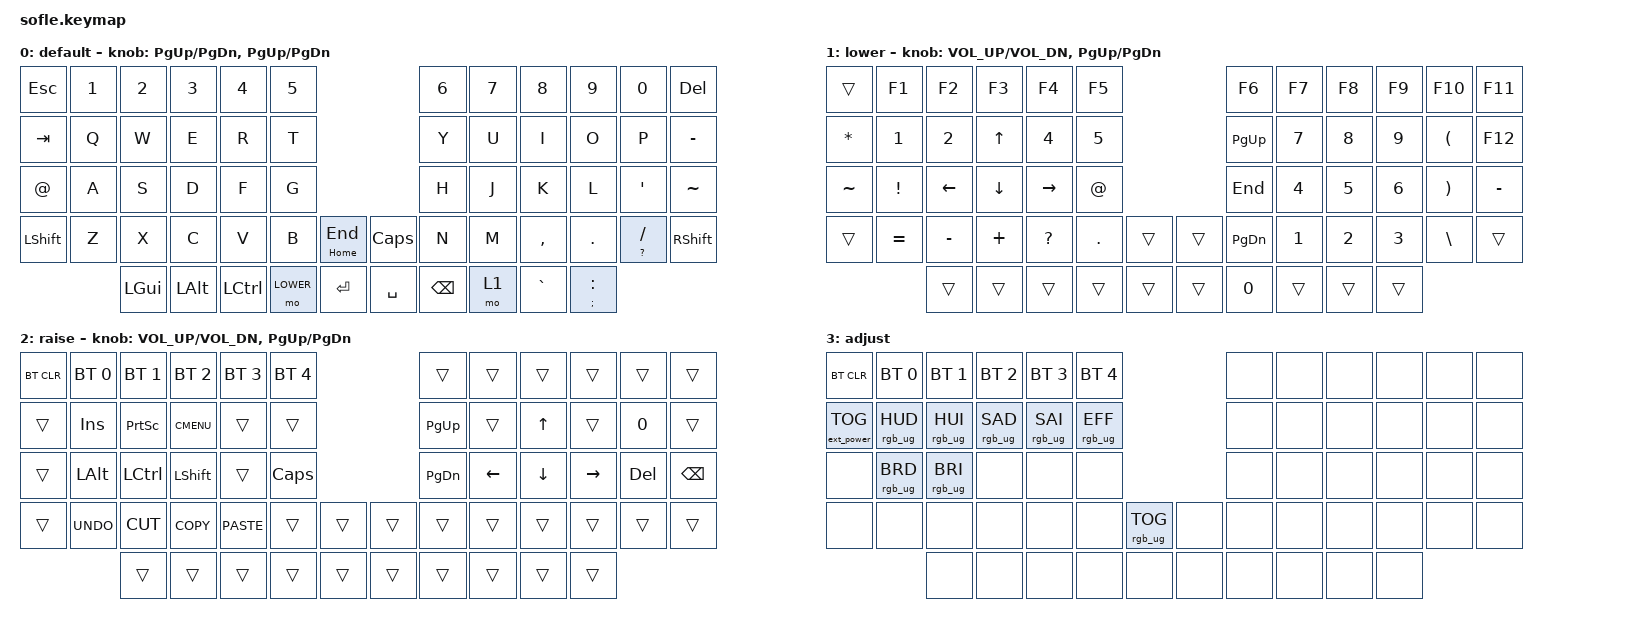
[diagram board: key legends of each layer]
/*
 * Copyright (c) 2020 The ZMK Contributors
 *
 * SPDX-License-Identifier: MIT
 */

#include <behaviors.dtsi>
#include <dt-bindings/zmk/bt.h>
#include <dt-bindings/zmk/ext_power.h>
#include <dt-bindings/zmk/keys.h>
#include <dt-bindings/zmk/rgb.h>

#define BASE 0
#define LOWER 1
#define RAISE 2
#define ADJUST 3

/ {
    // Activate ADJUST layer by pressing raise and lower

    conditional_layers {
        compatible = "zmk,conditional-layers";

        adjust_layer {
            if-layers = <LOWER RAISE>;
            then-layer = <ADJUST>;
        };
    };

    keymap {
        compatible = "zmk,keymap";

        default_layer {
            display-name = "default";

            // ------------------------------------------------------------------------------------------------------------
            // |   `   |  1  |  2  |  3   |  4   |  5   |                   |  6   |  7    |  8    |  9   |   0   |       |
            // |  ESC  |  Q  |  W  |  E   |  R   |  T   |                   |  Y   |  U    |  I    |  O   |   P   | BKSPC |
            // |  TAB  |  A  |  S  |  D   |  F   |  G   |                   |  H   |  J    |  K    |  L   |   ;   |   '   |
            // | SHIFT |  Z  |  X  |  C   |  V   |  B   |  MUTE  |  |       |  N   |  M    |  ,    |  .   |   /   | SHIFT |
            //               | GUI | ALT  | CTRL | LOWER|  ENTER |  | SPACE | RAISE| CTRL  | ALT   | GUI  |

            bindings = <
&kp ESCAPE   &kp N1  &kp N2    &kp N3    &kp N4     &kp N5                                   &kp N6         &kp N7  &kp N8     &kp N9          &kp N0              &kp DEL
&kp TAB      &kp Q   &kp W     &kp E     &kp R      &kp T                                    &kp Y          &kp U   &kp I      &kp O           &kp P               &kp MINUS
&kp AT_SIGN  &kp A   &kp S     &kp D     &kp F      &kp G                                    &kp H          &kp J   &kp K      &kp L           &kp APOS            &kp TILDE
&kp LSHFT    &kp Z   &kp X     &kp C     &kp V      &kp B      &mt HOME END    &kp CAPSLOCK  &kp N          &kp M   &kp COMMA  &kp DOT         &mt QUESTION SLASH  &kp RSHFT
                     &kp LGUI  &kp LALT  &kp LCTRL  &mo LOWER  &kp RET         &kp SPACE     &kp BACKSPACE  &mo 1   &kp GRAVE  &mt SEMI COLON
            >;

            sensor-bindings =
                <&inc_dec_kp PAGE_UP PAGE_DOWN>,
                <&inc_dec_kp PG_UP PG_DN>;
        };

        lower_layer {
            display-name = "lower";

            // TODO: Some binds are waiting for shifted keycode support.
            // ------------------------------------------------------------------------------------------------------------
            // |       |  F1 |  F2 |  F3  |  F4  |  F5  |                   |  F6  |  F7   |  F8   |  F9  |  F10  |  F11  |
            // |   `   |  1  |  2  |  3   |  4   |  5   |                   |  6   |  7    |  8    |  9   |   0   |  F12  |
            // |       |  !  |  @  |  #   |  $   |  %   |                   |  ^   |  &    |  *    |  (   |   )   |   |   |
            // |       |  =  |  -  |  +   |  {   |  }   |        |  |       |  [   |  ]    |  ;    |  :   |   \   |       |
            //               |     |      |      |      |        |  |       |      |       |       |      |

            bindings = <
&trans     &kp F1     &kp F2     &kp F3          &kp F4        &kp F5                         &kp F6         &kp F7  &kp F8  &kp F9  &kp F10               &kp F11
&kp ASTRK  &kp N1     &kp N2     &kp UP_ARROW    &kp N4        &kp N5                         &kp PAGE_UP    &kp N7  &kp N8  &kp N9  &kp LEFT_PARENTHESIS  &kp F12
&kp TILDE  &kp EXCL   &kp LEFT   &kp DOWN_ARROW  &kp RIGHT     &kp AT_SIGN                    &kp END        &kp N4  &kp N5  &kp N6  &kp RPAR              &kp MINUS
&trans     &kp EQUAL  &kp MINUS  &kp PLUS        &kp QUESTION  &kp PERIOD   &trans    &trans  &kp PAGE_DOWN  &kp N1  &kp N2  &kp N3  &kp BSLH              &trans
                      &trans     &trans          &trans        &trans       &trans    &trans  &kp N0         &trans  &trans  &trans
            >;

            sensor-bindings = <&inc_dec_kp C_VOL_UP C_VOL_DN &inc_dec_kp PG_UP PG_DN>;
        };

        raise_layer {
            display-name = "raise";

            // ------------------------------------------------------------------------------------------------------------
            // | BTCLR | BT1  | BT2  |  BT3  |  BT4  |  BT5 |                |      |      |       |      |       |       |
            // |       | INS  | PSCR | GUI   |       |      |                | PGUP |      |   ^   |      |       |       |
            // |       | ALT  | CTRL | SHIFT |       | CAPS |                | PGDN |   <- |   v   |  ->  |  DEL  | BKSPC |
            // |       | UNDO | CUT  | COPY  | PASTE |      |      |  |      |      |      |       |      |       |       |
            //                |      |       |       |      |      |  |      |      |      |       |      |

            bindings = <
&bt BT_CLR  &bt BT_SEL 0  &bt BT_SEL 1  &bt BT_SEL 2  &bt BT_SEL 3  &bt BT_SEL 4                    &trans     &trans    &trans    &trans     &trans   &trans
&trans      &kp INS       &kp PSCRN     &kp K_CMENU   &trans        &trans                          &kp PG_UP  &trans    &kp UP    &trans     &kp N0   &trans
&trans      &kp LALT      &kp LCTRL     &kp LSHFT     &trans        &kp CLCK                        &kp PG_DN  &kp LEFT  &kp DOWN  &kp RIGHT  &kp DEL  &kp BSPC
&trans      &kp K_UNDO    &kp K_CUT     &kp K_COPY    &kp K_PASTE   &trans        &trans    &trans  &trans     &trans    &trans    &trans     &trans   &trans
                          &trans        &trans        &trans        &trans        &trans    &trans  &trans     &trans    &trans    &trans
            >;

            sensor-bindings = <&inc_dec_kp C_VOL_UP C_VOL_DN &inc_dec_kp PG_UP PG_DN>;
        };

        adjust_layer {
            // ----------------------------------------------------------------------------------------------------------------------------
            // | BTCLR  |  BT1    |  BT2    |   BT3   |   BT4   |   BT5   |                  |      |      |       |      |       |       |
            // | EXTPWR | RGB_HUD | RGB_HUI | RGB_SAD | RGB_SAI | RGB_EFF |                  |      |      |       |      |       |       |
            // |        | RGB_BRD | RGB_BRI |         |         |         |                  |      |      |       |      |       |       |
            // |        |         |         |         |         |         | RGB_TOG | |      |      |      |       |      |       |       |
            //                    |         |         |         |         |         | |      |      |      |       |      |

            display-name = "adjust";
            bindings = <
&bt BT_CLR         &bt BT_SEL 0     &bt BT_SEL 1     &bt BT_SEL 2     &bt BT_SEL 3     &bt BT_SEL 4                               &none  &none  &none  &none  &none  &none
&ext_power EP_TOG  &rgb_ug RGB_HUD  &rgb_ug RGB_HUI  &rgb_ug RGB_SAD  &rgb_ug RGB_SAI  &rgb_ug RGB_EFF                            &none  &none  &none  &none  &none  &none
&none              &rgb_ug RGB_BRD  &rgb_ug RGB_BRI  &none            &none            &none                                      &none  &none  &none  &none  &none  &none
&none              &none            &none            &none            &none            &none            &rgb_ug RGB_TOG    &none  &none  &none  &none  &none  &none  &none
                                    &none            &none            &none            &none            &none              &none  &none  &none  &none  &none
            >;
        };
    };
};
